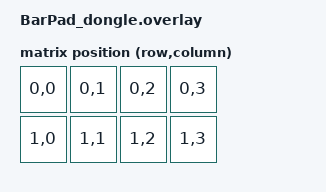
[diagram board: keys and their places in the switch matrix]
#include <dt-bindings/zmk/matrix_transform.h>

/ {
    chosen {
        zmk,kscan = &mock_kscan;
        zmk,matrix-transform = &default_transform;
        zmk,physical-layout = &physical_layout0;
    };

    default_transform: matrix_transform {
        compatible = "zmk,matrix-transform";
        rows = <2>;
        columns = <4>;
        map = <
            RC(0,0) RC(0,1) RC(0,2) RC(0,3)
            RC(1,0) RC(1,1) RC(1,2) RC(1,3)
        >;
    };

    physical_layout0: physical_layout_0 {
        compatible = "zmk,physical-layout";
        display-name = "Default Layout";
        transform = <&default_transform>;
        kscan = <&mock_kscan>;
        keys
            = <&key_physical_attrs 100 100    0    0 0 0 0>
            , <&key_physical_attrs 100 100  100    0 0 0 0>
            , <&key_physical_attrs 100 100  200    0 0 0 0>
            , <&key_physical_attrs 100 100  300    0 0 0 0>
            , <&key_physical_attrs 100 100    0  100 0 0 0>
            , <&key_physical_attrs 100 100  100  100 0 0 0>
            , <&key_physical_attrs 100 100  200  100 0 0 0>
            , <&key_physical_attrs 100 100  300  100 0 0 0>
            ;
    };

    mock_kscan: kscan {
        compatible = "zmk,kscan-mock";
        columns = <0>;
        rows = <0>;
        events = <0>;
    };

    key_physical_attrs: key_physical_attrs {
        compatible = "zmk,key-physical-attrs";
        #zmk,physical-layout-attr-cells = <7>;
    };
};
